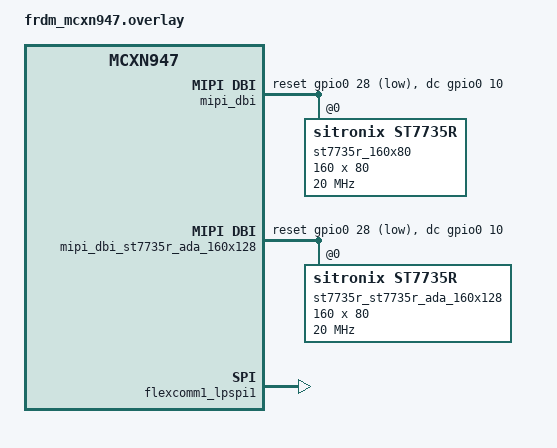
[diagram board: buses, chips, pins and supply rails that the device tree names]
#include <zephyr/dt-bindings/mipi_dbi/mipi_dbi.h>

/ {
    chosen {
        zephyr,display = &st7735r_160x80;
    };

    mipi_dbi {
        compatible = "zephyr,mipi-dbi-spi";
        spi-dev = <&spi2>;
        dc-gpios = <&gpio0 10 GPIO_ACTIVE_HIGH>;
        reset-gpios = <&gpio0 28 GPIO_ACTIVE_LOW>;
        #address-cells = <1>;
        #size-cells = <0>;

        st7735r_160x80: st7735r@0 {
            compatible = "sitronix,st7735r";
            reg = <0>;
            mipi-max-frequency = <20000000>;
			mipi-mode = "MIPI_DBI_MODE_SPI_4WIRE";
			reg = <0>;
			width = <160>;
			height = <80>;
			inversion-on;
			rgb-is-inverted;
			x-offset = <1>;
			y-offset = <26>;
			pwctr1 = [A2 02 84];
			pwctr2 = [C5];
			pwctr3 = [0A 00];
			pwctr4 = [8A 2A];
			pwctr5 = [8A EE];
			invctr = <7>;
			frmctr1 = [01 2C 2D];
			frmctr2 = [01 2C 2D];
			frmctr3 = [01 2C 2D 01 2C 2D];
			vmctr1 = <14>;
			gamctrp1 = [02 1C 07 12 37 32 29 2D 29 25 2B 39 00 01 03 10];
			gamctrn1 = [03 1D 07 06 2E 2C 29 2D 2E 2E 37 3F 00 00 02 10];
			colmod = <5>;
			/* Set D3 (RGB) bit to 1. LV_COLOR_16_SWAP is enabled by default */
			madctl = <184>; /* Set to <120> to rotate the image 180 degrees. */
			caset = [00 01 00 a0];
			raset = [00 1a 00 69];
        };
    };
};

/ {
	chosen {
		zephyr,display = &st7735r_st7735r_ada_160x128;
	};

	mipi_dbi_st7735r_ada_160x128 {
		compatible = "zephyr,mipi-dbi-spi";
		spi-dev = <&flexcomm1_lpspi1>;
		dc-gpios = <&gpio0 10 GPIO_ACTIVE_HIGH>;	/* D9 */
		reset-gpios = <&gpio0 28 GPIO_ACTIVE_LOW>;	/* D8 */
		#address-cells = <1>;
		#size-cells = <0>;

		st7735r_st7735r_ada_160x128: st7735r@0 {
			compatible = "sitronix,st7735r";
			mipi-max-frequency = <20000000>;
			mipi-mode = "MIPI_DBI_MODE_SPI_4WIRE";
			reg = <0>;
			width = <160>;
			height = <80>;
			x-offset = <0>;
			y-offset = <0>;
			madctl = <0x60>;
			colmod = <0x55>;
			vmctr1 = <0x0e>;
			pwctr1 = [a2 02 84];
			pwctr2 = [c5];
			pwctr3 = [0a 00];
			pwctr4 = [8a 2a];
			pwctr5 = [8a ee];
			frmctr1 = [01 2c 2d];
			frmctr2 = [01 2c 2d];
			frmctr3 = [01 2c 2d 01 2c 2d];
			gamctrp1 = [02 1c 07 12 37 32 29 2d 29 25 2b 39 00 01 03 10];
			gamctrn1 = [03 1d 07 06 2e 2c 29 2d 2e 2e 37 3f 00 00 02 10];
		};
	};
};

/* SPI controller: Flexcomm1 (routes to D13/D12/D11/D10) */
&flexcomm1_lpspi1 {
    status = "okay";
	pinctrl-0 = <&spi1_fc1_custom_pins>;
	pinctrl-names = "default";
};

/* Pin control */
&pinctrl {
    /* D13=SCK(P0_25), D12=MISO(P0_26), D10=SSEL0(P0_27), D11=MOSI(P0_24) */
    spi1_fc1_custom_pins: spi1_fc1_custom_pins {
		group0 {
			pinmux = <FC1_P0_PIO0_24>,
				<FC1_P1_PIO0_25>,
				<FC1_P2_PIO0_26>,
				<FC1_P3_PIO0_27>;
			slew-rate = "fast";
			drive-strength = "low";
			input-enable;
        };
    };
};


